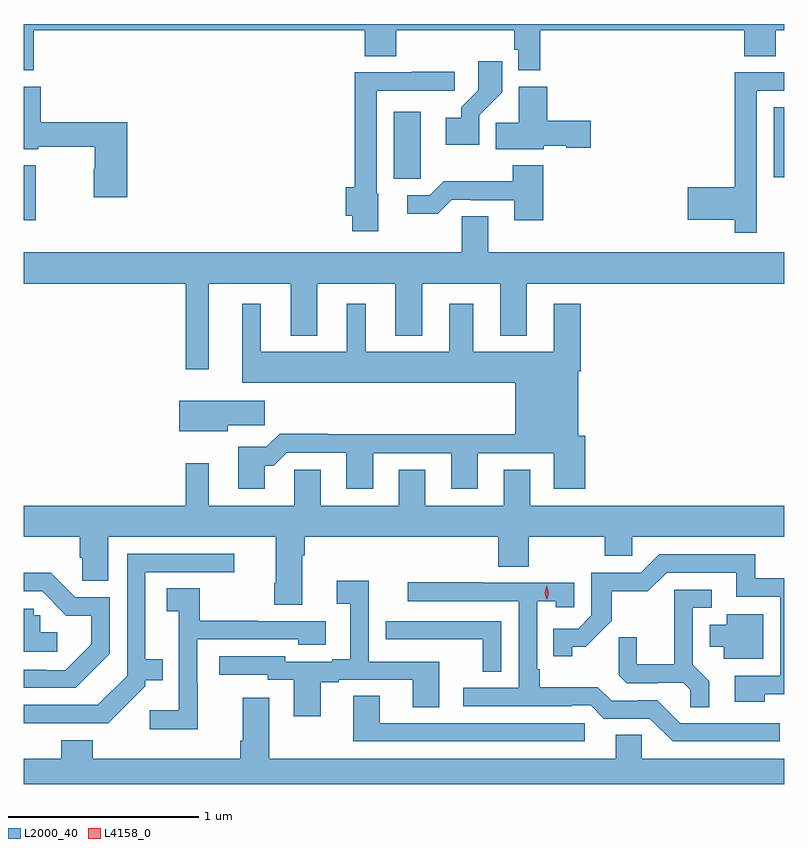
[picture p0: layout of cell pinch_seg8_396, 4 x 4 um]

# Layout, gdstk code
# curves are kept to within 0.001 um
import gdstk
lib = gdstk.Library(unit=1e-6, precision=1e-09)
def R(c, l, rs):  # rectangles x0, y0, x1, y1
    for r in rs: c.add(gdstk.rectangle(r[:2], r[2:], *l))
def P(c, l, *ps):  # polygons
    for p in ps: c.add(gdstk.Polygon(p, *l))
L2000_40 = (2000, 40)
L4158_0 = (4158, 0)

pinch_seg8_396 = lib.new_cell('pinch_seg8_396')
R(pinch_seg8_396, L2000_40, [(539.262,1084.866,539.325,1085.155), (543.206,1085.091,543.262,1085.461)])
P(pinch_seg8_396, L2000_40, [(539.315,1085.864),(541.055,1085.864),(541.055,1085.728),(541.22,1085.728),(541.22,1085.864),(541.843,1085.864),(541.843,1085.763),(541.863,1085.763),(541.863,1085.654),(541.979,1085.654),(541.979,1085.864),(543.053,1085.864),(543.053,1085.728),(543.218,1085.728),(543.218,1085.864),(543.262,1085.864),(543.262,1085.898),(539.262,1085.898),(539.262,1085.654),(539.315,1085.654)],
  [(541.659,1085.419),(541.778,1085.538),(541.778,1085.701),(541.653,1085.701),(541.653,1085.549),(541.562,1085.459),(541.562,1085.404),(541.482,1085.404),(541.482,1085.264),(541.659,1085.264)],
  [(541.126,1085.004),(541.119,1085.004),(541.119,1085.547),(541.528,1085.547),(541.528,1085.646),(541.303,1085.646),(541.303,1085.643),(541.003,1085.643),(541.003,1085.039),(540.956,1085.039),(540.956,1084.89),(540.99,1084.89),(540.99,1084.808),(541.126,1084.808)],
  [(543.118,1085.022),(543.117,1085.022),(543.117,1085.547),(543.262,1085.547),(543.262,1085.643),(543.001,1085.643),(543.001,1085.039),(542.754,1085.039),(542.754,1084.868),(543.001,1084.868),(543.001,1084.8),(543.118,1084.8)],
  [(539.807,1085.38),(539.351,1085.38),(539.351,1085.569),(539.262,1085.569),(539.262,1085.24),(539.338,1085.24),(539.338,1085.251),(539.636,1085.251),(539.636,1085.136),(539.629,1085.136),(539.629,1084.986),(539.807,1084.986)],
  [(541.998,1085.258),(542.115,1085.258),(542.115,1085.246),(542.245,1085.246),(542.245,1085.388),(542.015,1085.388),(542.015,1085.569),(541.865,1085.569),(541.865,1085.378),(541.744,1085.378),(541.744,1085.24),(541.998,1085.24)],
  [(541.35,1085.194),(541.351,1085.194),(541.351,1085.437),(541.208,1085.437),(541.208,1085.083),(541.35,1085.083)],
  [(541.994,1085.155),(541.834,1085.155),(541.834,1085.071),(541.471,1085.071),(541.398,1084.998),(541.278,1084.998),(541.278,1084.901),(541.439,1084.901),(541.512,1084.974),(541.612,1084.974),(541.612,1084.971),(541.841,1084.971),(541.841,1084.866),(541.994,1084.866)],
  [(541.705,1084.886),(541.566,1084.886),(541.566,1084.696),(539.262,1084.696),(539.262,1084.532),(540.114,1084.532),(540.114,1084.083),(540.235,1084.083),(540.235,1084.532),(540.665,1084.532),(540.665,1084.259),(540.805,1084.259),(540.805,1084.532),(541.217,1084.532),(541.217,1084.259),(541.357,1084.259),(541.357,1084.532),(541.769,1084.532),(541.769,1084.259),(541.909,1084.259),(541.909,1084.532),(543.262,1084.532),(543.262,1084.696),(541.705,1084.696)],
  [(540.529,1083.575),(540.578,1083.575),(540.645,1083.642),(540.959,1083.642),(540.959,1083.453),(541.099,1083.453),(541.099,1083.639),(541.511,1083.639),(541.511,1083.453),(541.651,1083.453),(541.651,1083.639),(542.051,1083.639),(542.051,1083.453),(542.216,1083.453),(542.216,1083.732),(542.179,1083.732),(542.179,1084.07),(542.192,1084.07),(542.192,1084.426),(542.051,1084.426),(542.051,1084.174),(541.627,1084.174),(541.627,1084.426),(541.499,1084.426),(541.499,1084.174),(541.06,1084.174),(541.06,1084.426),(540.962,1084.426),(540.962,1084.174),(540.508,1084.174),(540.508,1084.426),(540.41,1084.426),(540.41,1084.01),(541.847,1084.01),(541.847,1083.74),(540.863,1083.74),(540.863,1083.743),(540.608,1083.743),(540.538,1083.673),(540.389,1083.673),(540.389,1083.453),(540.529,1083.453)],
  [(540.334,1083.787),(540.529,1083.787),(540.529,1083.916),(540.08,1083.916),(540.08,1083.755),(540.334,1083.755)],
  [(540.727,1083.104),(540.74,1083.104),(540.74,1083.2),(541.757,1083.2),(541.757,1083.043),(541.917,1083.043),(541.917,1083.2),(542.317,1083.2),(542.317,1083.102),(542.463,1083.102),(542.463,1083.2),(543.262,1083.2),(543.262,1083.364),(541.927,1083.364),(541.927,1083.554),(541.787,1083.554),(541.787,1083.364),(541.375,1083.364),(541.375,1083.554),(541.235,1083.554),(541.235,1083.364),(540.823,1083.364),(540.823,1083.554),(540.684,1083.554),(540.684,1083.364),(540.235,1083.364),(540.235,1083.586),(540.114,1083.586),(540.114,1083.364),(539.262,1083.364),(539.262,1083.2),(539.555,1083.2),(539.555,1083.09),(539.569,1083.09),(539.569,1082.968),(539.707,1082.968),(539.707,1083.2),(540.587,1083.2),(540.587,1082.956),(540.58,1082.956),(540.58,1082.844),(540.727,1082.844)],
  [(539.375,1082.22),(539.706,1082.22),(539.901,1082.415),(539.901,1082.447),(539.993,1082.447),(539.993,1082.557),(539.902,1082.557),(539.902,1083.015),(540.37,1083.015),(540.37,1083.111),(539.805,1083.111),(539.805,1082.469),(539.652,1082.316),(539.262,1082.316),(539.262,1082.219)],
  [(543.159,1082.373),(543.262,1082.373),(543.262,1082.982),(543.11,1082.982),(543.11,1083.108),(542.604,1083.108),(542.508,1083.012),(542.247,1083.012),(542.247,1082.787),(542.178,1082.718),(542.047,1082.718),(542.047,1082.571),(542.148,1082.571),(542.148,1082.621),(542.218,1082.621),(542.356,1082.758),(542.356,1082.914),(542.545,1082.914),(542.643,1083.012),(543.011,1083.012),(543.011,1082.886),(543.24,1082.886),(543.24,1082.469),(543.003,1082.469),(543.003,1082.333),(543.159,1082.333)],
  [(539.715,1082.585),(539.715,1082.883),(539.532,1082.883),(539.404,1083.011),(539.262,1083.011),(539.262,1082.913),(539.358,1082.913),(539.485,1082.786),(539.618,1082.786),(539.618,1082.636),(539.481,1082.499),(539.381,1082.499),(539.381,1082.502),(539.262,1082.502),(539.262,1082.406),(539.536,1082.406)],
  [(540.823,1082.436),(540.919,1082.436),(540.919,1082.448),(541.307,1082.448),(541.307,1082.305),(541.447,1082.305),(541.447,1082.544),(541.077,1082.544),(541.077,1082.968),(540.909,1082.968),(540.909,1082.848),(540.98,1082.848),(540.98,1082.557),(540.884,1082.557),(540.884,1082.544),(540.636,1082.544),(540.636,1082.571),(540.291,1082.571),(540.291,1082.475),(540.546,1082.475),(540.546,1082.448),(540.683,1082.448),(540.683,1082.256),(540.823,1082.256)],
  [(543.238,1082.22),(542.715,1082.22),(542.595,1082.34),(542.494,1082.34),(542.494,1082.337),(542.355,1082.337),(542.282,1082.41),(541.975,1082.41),(541.975,1082.503),(541.962,1082.503),(541.962,1082.861),(542.061,1082.861),(542.061,1082.829),(542.157,1082.829),(542.157,1082.958),(541.673,1082.958),(541.673,1082.961),(541.281,1082.961),(541.281,1082.862),(541.866,1082.862),(541.866,1082.406),(541.575,1082.406),(541.575,1082.31),(542.144,1082.31),(542.144,1082.313),(542.244,1082.313),(542.313,1082.244),(542.556,1082.244),(542.676,1082.124),(543.238,1082.124)],
  [(540.177,1082.429),(540.174,1082.429),(540.174,1082.661),(540.705,1082.661),(540.705,1082.633),(540.85,1082.633),(540.85,1082.757),(540.491,1082.757),(540.491,1082.76),(540.187,1082.76),(540.187,1082.93),(540.015,1082.93),(540.015,1082.809),(540.078,1082.809),(540.078,1082.287),(539.925,1082.287),(539.925,1082.189),(540.177,1082.189)],
  [(542.867,1082.441),(542.781,1082.527),(542.781,1082.826),(542.881,1082.826),(542.881,1082.922),(542.684,1082.922),(542.684,1082.53),(542.486,1082.53),(542.486,1082.673),(542.392,1082.673),(542.392,1082.471),(542.433,1082.43),(542.598,1082.43),(542.598,1082.433),(542.732,1082.433),(542.769,1082.396),(542.769,1082.305),(542.867,1082.305)],
  [(539.437,1082.698),(539.349,1082.698),(539.349,1082.787),(539.313,1082.787),(539.313,1082.823),(539.262,1082.823),(539.262,1082.595),(539.437,1082.595)],
  [(543.151,1082.794),(542.96,1082.794),(542.96,1082.737),(542.87,1082.737),(542.87,1082.621),(542.945,1082.621),(542.945,1082.558),(543.151,1082.558)],
  [(541.773,1082.757),(541.167,1082.757),(541.167,1082.662),(541.279,1082.662),(541.279,1082.661),(541.675,1082.661),(541.675,1082.491),(541.773,1082.491)],
  [(542.212,1082.22),(541.135,1082.22),(541.135,1082.363),(540.995,1082.363),(540.995,1082.124),(542.212,1082.124)],
  [(543.262,1082.032),(542.514,1082.032),(542.514,1082.159),(542.375,1082.159),(542.375,1082.032),(540.553,1082.032),(540.553,1082.353),(540.413,1082.353),(540.413,1082.128),(540.401,1082.128),(540.401,1082.032),(539.624,1082.032),(539.624,1082.131),(539.459,1082.131),(539.459,1082.032),(539.262,1082.032),(539.262,1081.9),(543.262,1081.9)])
P(pinch_seg8_396, L4158_0, [(542.014,1082.871),(542.014,1082.871),(542.003,1082.906),(542.012,1082.942),(542.012,1082.943),(542.012,1082.942),(542.023,1082.907),(542.015,1082.871)])

lib.write_gds('pinch_seg8_396.gds')
